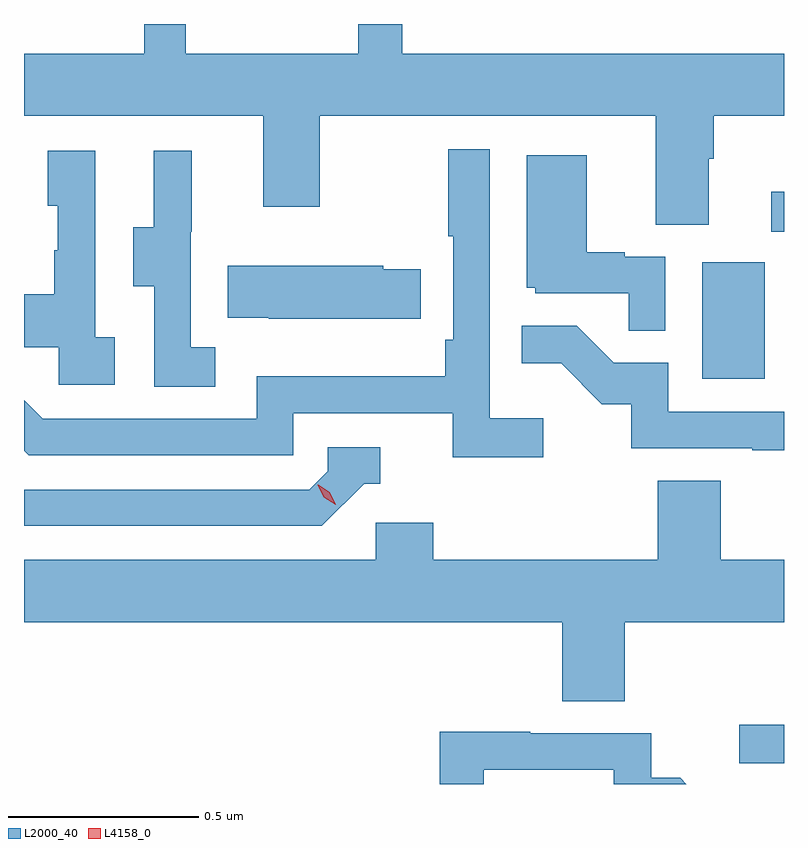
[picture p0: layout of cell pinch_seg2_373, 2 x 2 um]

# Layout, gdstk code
import gdstk
lib = gdstk.Library(unit=1e-6, precision=1e-09)
def R(c, l, rs):  # rectangles x0, y0, x1, y1
    for r in rs: c.add(gdstk.rectangle(r[:2], r[2:], *l))
def P(c, l, *ps):  # polygons
    for p in ps: c.add(gdstk.Polygon(p, *l))
L2000_40 = (2000, 40)
L4158_0 = (4158, 0)

pinch_seg2_373 = lib.new_cell('pinch_seg2_373')
R(pinch_seg2_373, L2000_40, [(971.097,641.936,971.215,642.038), (971,642.948,971.164,643.255), (971.181,643.335,971.215,643.441)])
P(pinch_seg2_373, L2000_40, [(971.017,643.528),(971.03,643.528),(971.03,643.64),(971.215,643.64),(971.215,643.804),(970.211,643.804),(970.211,643.882),(970.094,643.882),(970.094,643.804),(969.641,643.804),(969.641,643.882),(969.531,643.882),(969.531,643.804),(969.215,643.804),(969.215,643.64),(969.845,643.64),(969.845,643.401),(969.993,643.401),(969.993,643.64),(970.877,643.64),(970.877,643.354),(971.017,643.354)],
  [(970.582,642.844),(970.44,642.844),(970.44,643.552),(970.332,643.552),(970.332,643.324),(970.344,643.324),(970.344,643.051),(970.324,643.051),(970.324,642.955),(969.828,642.955),(969.828,642.843),(969.264,642.843),(969.215,642.892),(969.215,642.759),(969.227,642.747),(969.924,642.747),(969.924,642.858),(970.343,642.858),(970.343,642.742),(970.582,642.742)],
  [(969.718,643.031),(969.654,643.031),(969.654,643.335),(969.656,643.335),(969.656,643.549),(969.557,643.549),(969.557,643.347),(969.503,643.347),(969.503,643.192),(969.558,643.192),(969.558,642.928),(969.718,642.928)],
  [(969.454,643.058),(969.402,643.058),(969.402,643.549),(969.278,643.549),(969.278,643.404),(969.304,643.404),(969.304,643.286),(969.294,643.286),(969.294,643.171),(969.215,643.171),(969.215,643.031),(969.306,643.031),(969.306,642.933),(969.454,642.933)],
  [(970.902,643.269),(970.796,643.269),(970.796,643.282),(970.696,643.282),(970.696,643.537),(970.538,643.537),(970.538,643.188),(970.56,643.188),(970.56,643.173),(970.807,643.173),(970.807,643.075),(970.902,643.075)],
  [(970.259,643.236),(970.161,643.236),(970.161,643.246),(969.751,643.246),(969.751,643.109),(969.859,643.109),(969.859,643.106),(970.259,643.106)],
  [(971.215,642.861),(970.911,642.861),(970.911,642.99),(970.767,642.99),(970.669,643.088),(970.525,643.088),(970.525,642.989),(970.629,642.989),(970.736,642.882),(970.813,642.882),(970.813,642.765),(971.131,642.765),(971.131,642.76),(971.215,642.76)],
  [(970.11,642.672),(970.153,642.672),(970.153,642.768),(970.014,642.768),(970.014,642.705),(969.966,642.657),(969.215,642.657),(969.215,642.561),(969.999,642.561)],
  [(970.796,642.308),(971.215,642.308),(971.215,642.472),(971.048,642.472),(971.048,642.68),(970.883,642.68),(970.883,642.472),(970.292,642.472),(970.292,642.57),(970.14,642.57),(970.14,642.472),(969.215,642.472),(969.215,642.308),(970.631,642.308),(970.631,642.1),(970.796,642.1)],
  [(970.425,641.919),(970.767,641.919),(970.767,641.882),(970.958,641.882),(970.942,641.898),(970.866,641.898),(970.866,642.015),(970.547,642.015),(970.547,642.02),(970.309,642.02),(970.309,641.882),(970.425,641.882)])
P(pinch_seg2_373, L4158_0, [(970.035,642.617),(970.004,642.637),(969.988,642.669),(969.988,642.67),(969.989,642.67),(970.019,642.65),(970.035,642.617),(970.035,642.617)])

lib.write_gds('pinch_seg2_373.gds')
